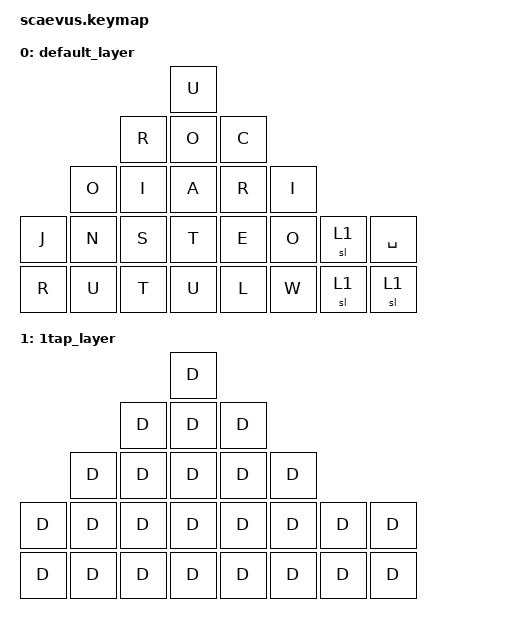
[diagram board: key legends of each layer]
#include <behaviors.dtsi>
#include <dt-bindings/zmk/keys.h>
#include <dt-bindings/zmk/bt.h>
#include <dt-bindings/zmk/outputs.h>

/ {
    keymap {
        compatible = "zmk,keymap";
        
        default_layer {
            bindings = < 
                                    &kp U 
                            &kp R   &kp O   &kp C 
                    &kp O   &kp I   &kp A   &kp R   &kp I
            &kp J   &kp N   &kp S   &kp T   &kp E   &kp O   &sl 1   &kp SPACE
            &kp R   &kp U   &kp T   &kp U   &kp L   &kp W   &sl 1   &sl 1
            >;
        };
        
        1tap_layer {
            bindings = < 
                                    &kp D 
                            &kp D   &kp D   &kp D 
                    &kp D   &kp D   &kp D   &kp D   &kp D
            &kp D   &kp D   &kp D   &kp D   &kp D   &kp D   &kp D   &kp D
            &kp D   &kp D   &kp D   &kp D   &kp D   &kp D   &kp D   &kp D
            >;
        };
    };
};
